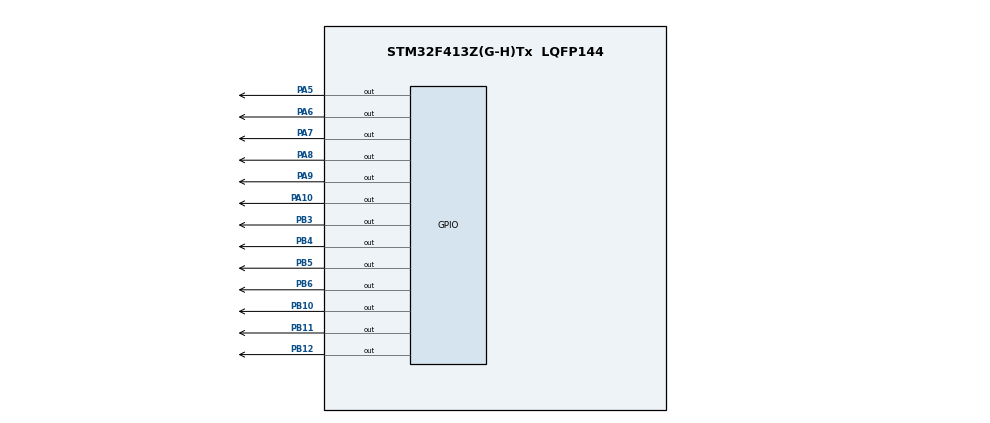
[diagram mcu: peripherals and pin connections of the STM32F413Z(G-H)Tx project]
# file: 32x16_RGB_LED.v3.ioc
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Mcu.Family=STM32F4
Mcu.Name=STM32F413Z(G-H)Tx
Mcu.Package=LQFP144
NVIC.PriorityGroup=NVIC_PRIORITYGROUP_4
PA10.Signal=GPIO_Output
PA5.Signal=GPIO_Output
PA6.Signal=GPIO_Output
PA7.Signal=GPIO_Output
PA8.Signal=GPIO_Output
PA9.Signal=GPIO_Output
PB10.Signal=GPIO_Output
PB11.Signal=GPIO_Output
PB12.Signal=GPIO_Output
PB3.Signal=GPIO_Output
PB4.Signal=GPIO_Output
PB5.Signal=GPIO_Output
PB6.Signal=GPIO_Output
ProjectManager.HeapSize=0x200
ProjectManager.StackSize=0x400
ProjectManager.TargetToolchain=STM32CubeIDE
RCC.CortexFreq_Value=16000000
RCC.USBFreq_Value=96000000
RCC.VCOOutputFreq_Value=192000000
board=custom

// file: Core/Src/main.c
/* USER CODE BEGIN Header */
/**
 ******************************************************************************
 * @file           : main.c
 * @brief          : Main program body
 ******************************************************************************
 * @attention
 *
 * Copyright (c) 2025 STMicroelectronics.
 * All rights reserved.
 *
 * This software is licensed under terms that can be found in the LICENSE file
 * in the root directory of this software component.
 * If no LICENSE file comes with this software, it is provided AS-IS.
 *
 ******************************************************************************
 */
/* USER CODE END Header */
#include "main.h"

/* USER CODE BEGIN Includes */
#include "countdown.h"
/* USER CODE END Includes */

/* USER CODE BEGIN PV */

// Button state tracking variables
uint8_t button_stop_prev = 1;
uint8_t button_reset_prev = 1;
uint8_t button_start_prev = 1;

/* USER CODE END PV */

void SystemClock_Config(void);
void MX_GPIO_Init(void);

int main(void)
{

  /* MCU Configuration--------------------------------------------------------*/

  /* Reset of all peripherals, Initializes the Flash interface and the Systick. */
  HAL_Init();

  /* Configure the system clock */
  SystemClock_Config();

  /* Initialize all configured peripherals */
  MX_GPIO_Init();
  countdown_init();

  /* Infinite loop */
  while (1)
  {

    /* USER CODE BEGIN 3 */
    countdown();

    // Button handling with debouncing
    uint8_t button_stop_current = HAL_GPIO_ReadPin(GPIOC, GPIO_PIN_6);
    uint8_t button_reset_current = HAL_GPIO_ReadPin(GPIOC, GPIO_PIN_8);
    uint8_t button_start_current = HAL_GPIO_ReadPin(GPIOC, GPIO_PIN_9);

    // Stop button (PC6) - falling edge detection
    if (button_stop_prev == 1 && button_stop_current == 0)
    {
      countdown_stop();
    }
    button_stop_prev = button_stop_current;

    // Reset button (PC8) - falling edge detection
    if (button_reset_prev == 1 && button_reset_current == 0)
    {
      countdown_reset();
    }
    button_reset_prev = button_reset_current;

    // Start button (PC9) - falling edge detection
    if (button_start_prev == 1 && button_start_current == 0)
    {
      countdown_start();
    }
    button_start_prev = button_start_current;

    /* USER CODE END 3 */
  }
}

void SystemClock_Config(void)
{
  RCC_OscInitTypeDef RCC_OscInitStruct = {0};
  RCC_ClkInitTypeDef RCC_ClkInitStruct = {0};

  /** Configure the main internal regulator output voltage
   */
  __HAL_RCC_PWR_CLK_ENABLE();
  __HAL_PWR_VOLTAGESCALING_CONFIG(PWR_REGULATOR_VOLTAGE_SCALE1);

  /** Initializes the RCC Oscillators according to the specified parameters
   * in the RCC_OscInitTypeDef structure.
   */
  RCC_OscInitStruct.OscillatorType = RCC_OSCILLATORTYPE_HSI;
  RCC_OscInitStruct.HSIState = RCC_HSI_ON;
  RCC_OscInitStruct.HSICalibrationValue = RCC_HSICALIBRATION_DEFAULT;
  RCC_OscInitStruct.PLL.PLLState = RCC_PLL_NONE;
  if (HAL_RCC_OscConfig(&RCC_OscInitStruct) != HAL_OK)
  {
    Error_Handler();
  }

  /** Initializes the CPU, AHB and APB buses clocks
   */
  RCC_ClkInitStruct.ClockType = RCC_CLOCKTYPE_HCLK | RCC_CLOCKTYPE_SYSCLK | RCC_CLOCKTYPE_PCLK1 | RCC_CLOCKTYPE_PCLK2;
  RCC_ClkInitStruct.SYSCLKSource = RCC_SYSCLKSOURCE_HSI;
  RCC_ClkInitStruct.AHBCLKDivider = RCC_SYSCLK_DIV1;
  RCC_ClkInitStruct.APB1CLKDivider = RCC_HCLK_DIV1;
  RCC_ClkInitStruct.APB2CLKDivider = RCC_HCLK_DIV1;

  if (HAL_RCC_ClockConfig(&RCC_ClkInitStruct, FLASH_LATENCY_0) != HAL_OK)
  {
    Error_Handler();
  }
}

void MX_GPIO_Init(void)
{
  GPIO_InitTypeDef GPIO_InitStruct = {0};

  /* GPIO Ports Clock Enable */
  __HAL_RCC_GPIOA_CLK_ENABLE();
  __HAL_RCC_GPIOB_CLK_ENABLE();
  __HAL_RCC_GPIOC_CLK_ENABLE();

  /*Configure GPIO pin Output Level */
  HAL_GPIO_WritePin(GPIOA, GPIO_PIN_5 | GPIO_PIN_6 | GPIO_PIN_7 | GPIO_PIN_8 | GPIO_PIN_9 | GPIO_PIN_10, GPIO_PIN_RESET);

  /*Configure GPIO pin Output Level */
  HAL_GPIO_WritePin(GPIOB, GPIO_PIN_10 | GPIO_PIN_11 | GPIO_PIN_12 | GPIO_PIN_3 | GPIO_PIN_4 | GPIO_PIN_5 | GPIO_PIN_6, GPIO_PIN_RESET);

  /*Configure GPIO pins : PA5 PA6 PA7 PA8
                           PA9 PA10 */
  GPIO_InitStruct.Pin = GPIO_PIN_5 | GPIO_PIN_6 | GPIO_PIN_7 | GPIO_PIN_8 | GPIO_PIN_9 | GPIO_PIN_10;
  GPIO_InitStruct.Mode = GPIO_MODE_OUTPUT_PP;
  GPIO_InitStruct.Pull = GPIO_NOPULL;
  GPIO_InitStruct.Speed = GPIO_SPEED_FREQ_LOW;
  HAL_GPIO_Init(GPIOA, &GPIO_InitStruct);

  /*Configure GPIO pins : PB10 PB11 PB12 PB3
                           PB4 PB5 PB6 */
  GPIO_InitStruct.Pin = GPIO_PIN_10 | GPIO_PIN_11 | GPIO_PIN_12 | GPIO_PIN_3 | GPIO_PIN_4 | GPIO_PIN_5 | GPIO_PIN_6;
  GPIO_InitStruct.Mode = GPIO_MODE_OUTPUT_PP;
  GPIO_InitStruct.Pull = GPIO_NOPULL;
  GPIO_InitStruct.Speed = GPIO_SPEED_FREQ_LOW;
  HAL_GPIO_Init(GPIOB, &GPIO_InitStruct);

  /* USER CODE BEGIN MX_GPIO_Init_2 */

  /* Configure button GPIOs as inputs with pull-up resistors */
  GPIO_InitStruct.Pin = GPIO_PIN_6 | GPIO_PIN_8 | GPIO_PIN_9;
  GPIO_InitStruct.Mode = GPIO_MODE_INPUT;
  GPIO_InitStruct.Pull = GPIO_PULLUP;
  GPIO_InitStruct.Speed = GPIO_SPEED_FREQ_LOW;
  HAL_GPIO_Init(GPIOC, &GPIO_InitStruct);

  /* USER CODE END MX_GPIO_Init_2 */
}

void Error_Handler(void)
{
  __disable_irq();
  while (1)
  {
  }
}
